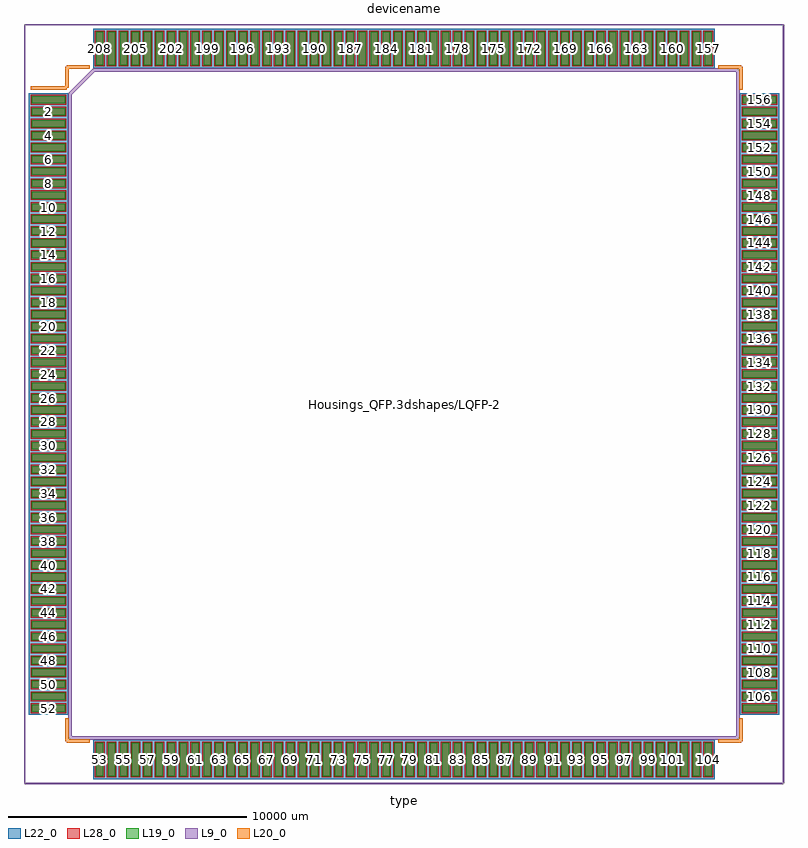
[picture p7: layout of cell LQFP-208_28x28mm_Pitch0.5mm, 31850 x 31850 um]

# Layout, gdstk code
import gdstk
lib = gdstk.Library(unit=1e-6, precision=1e-09)
def R(c, l, rs):  # rectangles x0, y0, x1, y1
    for r in rs: c.add(gdstk.rectangle(r[:2], r[2:], *l))
def A(c, l, x, y, w, h, nx, ny, dx, dy):  # array of equal rectangles
    R(c, l, [(x+i*dx, y+j*dy, x+i*dx+w, y+j*dy+h) for i in range(nx) for j in range(ny)])
L9_0 = (9, 0)
L19_0 = (19, 0)
L20_0 = (20, 0)
L22_0 = (22, 0)
L28_0 = (28, 0)

lqfp_208_28x28mm_pitch0_ = lib.new_cell('LQFP-208_28x28mm_Pitch0.5mm')
A(lqfp_208_28x28mm_pitch0_, L19_0, -12900, -15600, 300, 1400, 52, 2, 500, 29800)
A(lqfp_208_28x28mm_pitch0_, L19_0, -15600, -12900, 1400, 300, 1, 52, 0, 500)
A(lqfp_208_28x28mm_pitch0_, L19_0, 14200, -12900, 1400, 300, 1, 52, 0, 500)
A(lqfp_208_28x28mm_pitch0_, L22_0, -13025, -15725, 550, 1650, 52, 2, 500, 29800)
A(lqfp_208_28x28mm_pitch0_, L22_0, -15725, -13025, 1650, 550, 1, 52, 0, 500)
A(lqfp_208_28x28mm_pitch0_, L22_0, 14075, -13025, 1650, 550, 1, 52, 0, 500)
A(lqfp_208_28x28mm_pitch0_, L28_0, -12950, -15650, 400, 1500, 52, 2, 500, 29800)
A(lqfp_208_28x28mm_pitch0_, L28_0, -15650, -12950, 1500, 400, 1, 52, 0, 500)
A(lqfp_208_28x28mm_pitch0_, L28_0, 14150, -12950, 1500, 400, 1, 52, 0, 500)
lqfp_208_28x28mm_pitch0_.add(gdstk.FlexPath([(-14125,13250),(-15650,13250)], 149.998, ends="flush", simple_path=True, layer=20, datatype=0))  # L20_0
lqfp_208_28x28mm_pitch0_.add(gdstk.FlexPath([(14125,14125),(13175,14125)], 149.998, ends="flush", simple_path=True, layer=20, datatype=0))  # L20_0
lqfp_208_28x28mm_pitch0_.add(gdstk.FlexPath([(14125,-14125),(13175,-14125)], 149.998, ends="flush", simple_path=True, layer=20, datatype=0))  # L20_0
lqfp_208_28x28mm_pitch0_.add(gdstk.FlexPath([(-14125,-14125),(-13175,-14125)], 149.998, ends="flush", simple_path=True, layer=20, datatype=0))  # L20_0
lqfp_208_28x28mm_pitch0_.add(gdstk.FlexPath([(-14125,14125),(-13175,14125)], 149.998, ends="flush", simple_path=True, layer=20, datatype=0))  # L20_0
lqfp_208_28x28mm_pitch0_.add(gdstk.FlexPath([(-14125,-14125),(-14125,-13175)], 149.998, ends="flush", simple_path=True, layer=20, datatype=0))  # L20_0
lqfp_208_28x28mm_pitch0_.add(gdstk.FlexPath([(14125,-14125),(14125,-13175)], 149.998, ends="flush", simple_path=True, layer=20, datatype=0))  # L20_0
lqfp_208_28x28mm_pitch0_.add(gdstk.FlexPath([(14125,14125),(14125,13175)], 149.998, ends="flush", simple_path=True, layer=20, datatype=0))  # L20_0
lqfp_208_28x28mm_pitch0_.add(gdstk.FlexPath([(-14125,14125),(-14125,13250)], 149.998, ends="flush", simple_path=True, layer=20, datatype=0))  # L20_0
lqfp_208_28x28mm_pitch0_.add(gdstk.FlexPath([(-15900,-15900),(15900,-15900)], 50, ends="flush", simple_path=True, layer=9, datatype=0))  # L9_0
lqfp_208_28x28mm_pitch0_.add(gdstk.FlexPath([(-15900,15900),(15900,15900)], 50, ends="flush", simple_path=True, layer=9, datatype=0))  # L9_0
lqfp_208_28x28mm_pitch0_.add(gdstk.FlexPath([(15900,15900),(15900,-15900)], 50, ends="flush", simple_path=True, layer=9, datatype=0))  # L9_0
lqfp_208_28x28mm_pitch0_.add(gdstk.FlexPath([(-15900,15900),(-15900,-15900)], 50, ends="flush", simple_path=True, layer=9, datatype=0))  # L9_0
lqfp_208_28x28mm_pitch0_.add(gdstk.FlexPath([(-14000,13000),(-13000,14000)], 149.998, ends="flush", simple_path=True, layer=9, datatype=0))  # L9_0
lqfp_208_28x28mm_pitch0_.add(gdstk.FlexPath([(-14000,-14000),(-14000,13000)], 149.998, ends="flush", simple_path=True, layer=9, datatype=0))  # L9_0
lqfp_208_28x28mm_pitch0_.add(gdstk.FlexPath([(14000,-14000),(-14000,-14000)], 149.998, ends="flush", simple_path=True, layer=9, datatype=0))  # L9_0
lqfp_208_28x28mm_pitch0_.add(gdstk.FlexPath([(14000,14000),(14000,-14000)], 149.998, ends="flush", simple_path=True, layer=9, datatype=0))  # L9_0
lqfp_208_28x28mm_pitch0_.add(gdstk.FlexPath([(-13000,14000),(14000,14000)], 149.998, ends="flush", simple_path=True, layer=9, datatype=0))  # L9_0
lqfp_208_28x28mm_pitch0_.add(gdstk.Label('Housings_QFP.3dshapes/LQFP-208_28x28mm_Pitch0.5mm.wrl', (0,0), layer=12, texttype=0))
lqfp_208_28x28mm_pitch0_.add(gdstk.Label('208', (-12750,14900), layer=28, texttype=0))
lqfp_208_28x28mm_pitch0_.add(gdstk.Label('207', (-12250,14900), layer=28, texttype=0))
lqfp_208_28x28mm_pitch0_.add(gdstk.Label('206', (-11750,14900), layer=28, texttype=0))
lqfp_208_28x28mm_pitch0_.add(gdstk.Label('205', (-11250,14900), layer=28, texttype=0))
lqfp_208_28x28mm_pitch0_.add(gdstk.Label('204', (-10750,14900), layer=28, texttype=0))
lqfp_208_28x28mm_pitch0_.add(gdstk.Label('203', (-10250,14900), layer=28, texttype=0))
lqfp_208_28x28mm_pitch0_.add(gdstk.Label('202', (-9750,14900), layer=28, texttype=0))
lqfp_208_28x28mm_pitch0_.add(gdstk.Label('201', (-9250,14900), layer=28, texttype=0))
lqfp_208_28x28mm_pitch0_.add(gdstk.Label('200', (-8750,14900), layer=28, texttype=0))
lqfp_208_28x28mm_pitch0_.add(gdstk.Label('199', (-8250,14900), layer=28, texttype=0))
lqfp_208_28x28mm_pitch0_.add(gdstk.Label('198', (-7750,14900), layer=28, texttype=0))
lqfp_208_28x28mm_pitch0_.add(gdstk.Label('197', (-7250,14900), layer=28, texttype=0))
lqfp_208_28x28mm_pitch0_.add(gdstk.Label('196', (-6750,14900), layer=28, texttype=0))
lqfp_208_28x28mm_pitch0_.add(gdstk.Label('195', (-6250,14900), layer=28, texttype=0))
lqfp_208_28x28mm_pitch0_.add(gdstk.Label('194', (-5750,14900), layer=28, texttype=0))
lqfp_208_28x28mm_pitch0_.add(gdstk.Label('193', (-5250,14900), layer=28, texttype=0))
lqfp_208_28x28mm_pitch0_.add(gdstk.Label('192', (-4750,14900), layer=28, texttype=0))
lqfp_208_28x28mm_pitch0_.add(gdstk.Label('191', (-4250,14900), layer=28, texttype=0))
lqfp_208_28x28mm_pitch0_.add(gdstk.Label('190', (-3750,14900), layer=28, texttype=0))
lqfp_208_28x28mm_pitch0_.add(gdstk.Label('189', (-3250,14900), layer=28, texttype=0))
lqfp_208_28x28mm_pitch0_.add(gdstk.Label('188', (-2750,14900), layer=28, texttype=0))
lqfp_208_28x28mm_pitch0_.add(gdstk.Label('187', (-2250,14900), layer=28, texttype=0))
lqfp_208_28x28mm_pitch0_.add(gdstk.Label('186', (-1750,14900), layer=28, texttype=0))
lqfp_208_28x28mm_pitch0_.add(gdstk.Label('185', (-1250,14900), layer=28, texttype=0))
lqfp_208_28x28mm_pitch0_.add(gdstk.Label('184', (-750,14900), layer=28, texttype=0))
lqfp_208_28x28mm_pitch0_.add(gdstk.Label('183', (-250,14900), layer=28, texttype=0))
lqfp_208_28x28mm_pitch0_.add(gdstk.Label('182', (250,14900), layer=28, texttype=0))
lqfp_208_28x28mm_pitch0_.add(gdstk.Label('181', (750,14900), layer=28, texttype=0))
lqfp_208_28x28mm_pitch0_.add(gdstk.Label('180', (1250,14900), layer=28, texttype=0))
lqfp_208_28x28mm_pitch0_.add(gdstk.Label('179', (1750,14900), layer=28, texttype=0))
lqfp_208_28x28mm_pitch0_.add(gdstk.Label('178', (2250,14900), layer=28, texttype=0))
lqfp_208_28x28mm_pitch0_.add(gdstk.Label('177', (2750,14900), layer=28, texttype=0))
lqfp_208_28x28mm_pitch0_.add(gdstk.Label('176', (3250,14900), layer=28, texttype=0))
lqfp_208_28x28mm_pitch0_.add(gdstk.Label('175', (3750,14900), layer=28, texttype=0))
lqfp_208_28x28mm_pitch0_.add(gdstk.Label('174', (4250,14900), layer=28, texttype=0))
lqfp_208_28x28mm_pitch0_.add(gdstk.Label('173', (4750,14900), layer=28, texttype=0))
lqfp_208_28x28mm_pitch0_.add(gdstk.Label('172', (5250,14900), layer=28, texttype=0))
lqfp_208_28x28mm_pitch0_.add(gdstk.Label('171', (5750,14900), layer=28, texttype=0))
lqfp_208_28x28mm_pitch0_.add(gdstk.Label('170', (6250,14900), layer=28, texttype=0))
lqfp_208_28x28mm_pitch0_.add(gdstk.Label('169', (6750,14900), layer=28, texttype=0))
lqfp_208_28x28mm_pitch0_.add(gdstk.Label('168', (7250,14900), layer=28, texttype=0))
lqfp_208_28x28mm_pitch0_.add(gdstk.Label('167', (7750,14900), layer=28, texttype=0))
lqfp_208_28x28mm_pitch0_.add(gdstk.Label('166', (8250,14900), layer=28, texttype=0))
lqfp_208_28x28mm_pitch0_.add(gdstk.Label('165', (8750,14900), layer=28, texttype=0))
lqfp_208_28x28mm_pitch0_.add(gdstk.Label('164', (9250,14900), layer=28, texttype=0))
lqfp_208_28x28mm_pitch0_.add(gdstk.Label('163', (9750,14900), layer=28, texttype=0))
lqfp_208_28x28mm_pitch0_.add(gdstk.Label('162', (10250,14900), layer=28, texttype=0))
lqfp_208_28x28mm_pitch0_.add(gdstk.Label('161', (10750,14900), layer=28, texttype=0))
lqfp_208_28x28mm_pitch0_.add(gdstk.Label('160', (11250,14900), layer=28, texttype=0))
lqfp_208_28x28mm_pitch0_.add(gdstk.Label('159', (11750,14900), layer=28, texttype=0))
lqfp_208_28x28mm_pitch0_.add(gdstk.Label('158', (12250,14900), layer=28, texttype=0))
lqfp_208_28x28mm_pitch0_.add(gdstk.Label('157', (12750,14900), layer=28, texttype=0))
lqfp_208_28x28mm_pitch0_.add(gdstk.Label('156', (14900,12750), layer=28, texttype=0))
lqfp_208_28x28mm_pitch0_.add(gdstk.Label('155', (14900,12250), layer=28, texttype=0))
lqfp_208_28x28mm_pitch0_.add(gdstk.Label('154', (14900,11750), layer=28, texttype=0))
lqfp_208_28x28mm_pitch0_.add(gdstk.Label('153', (14900,11250), layer=28, texttype=0))
lqfp_208_28x28mm_pitch0_.add(gdstk.Label('152', (14900,10750), layer=28, texttype=0))
lqfp_208_28x28mm_pitch0_.add(gdstk.Label('151', (14900,10250), layer=28, texttype=0))
lqfp_208_28x28mm_pitch0_.add(gdstk.Label('150', (14900,9750), layer=28, texttype=0))
lqfp_208_28x28mm_pitch0_.add(gdstk.Label('149', (14900,9250), layer=28, texttype=0))
lqfp_208_28x28mm_pitch0_.add(gdstk.Label('148', (14900,8750), layer=28, texttype=0))
lqfp_208_28x28mm_pitch0_.add(gdstk.Label('147', (14900,8250), layer=28, texttype=0))
lqfp_208_28x28mm_pitch0_.add(gdstk.Label('146', (14900,7750), layer=28, texttype=0))
lqfp_208_28x28mm_pitch0_.add(gdstk.Label('145', (14900,7250), layer=28, texttype=0))
lqfp_208_28x28mm_pitch0_.add(gdstk.Label('144', (14900,6750), layer=28, texttype=0))
lqfp_208_28x28mm_pitch0_.add(gdstk.Label('143', (14900,6250), layer=28, texttype=0))
lqfp_208_28x28mm_pitch0_.add(gdstk.Label('142', (14900,5750), layer=28, texttype=0))
lqfp_208_28x28mm_pitch0_.add(gdstk.Label('141', (14900,5250), layer=28, texttype=0))
lqfp_208_28x28mm_pitch0_.add(gdstk.Label('140', (14900,4750), layer=28, texttype=0))
lqfp_208_28x28mm_pitch0_.add(gdstk.Label('139', (14900,4250), layer=28, texttype=0))
lqfp_208_28x28mm_pitch0_.add(gdstk.Label('138', (14900,3750), layer=28, texttype=0))
lqfp_208_28x28mm_pitch0_.add(gdstk.Label('137', (14900,3250), layer=28, texttype=0))
lqfp_208_28x28mm_pitch0_.add(gdstk.Label('136', (14900,2750), layer=28, texttype=0))
lqfp_208_28x28mm_pitch0_.add(gdstk.Label('135', (14900,2250), layer=28, texttype=0))
lqfp_208_28x28mm_pitch0_.add(gdstk.Label('134', (14900,1750), layer=28, texttype=0))
lqfp_208_28x28mm_pitch0_.add(gdstk.Label('133', (14900,1250), layer=28, texttype=0))
lqfp_208_28x28mm_pitch0_.add(gdstk.Label('132', (14900,750), layer=28, texttype=0))
lqfp_208_28x28mm_pitch0_.add(gdstk.Label('131', (14900,250), layer=28, texttype=0))
lqfp_208_28x28mm_pitch0_.add(gdstk.Label('130', (14900,-250), layer=28, texttype=0))
lqfp_208_28x28mm_pitch0_.add(gdstk.Label('129', (14900,-750), layer=28, texttype=0))
lqfp_208_28x28mm_pitch0_.add(gdstk.Label('128', (14900,-1250), layer=28, texttype=0))
lqfp_208_28x28mm_pitch0_.add(gdstk.Label('127', (14900,-1750), layer=28, texttype=0))
lqfp_208_28x28mm_pitch0_.add(gdstk.Label('126', (14900,-2250), layer=28, texttype=0))
lqfp_208_28x28mm_pitch0_.add(gdstk.Label('125', (14900,-2750), layer=28, texttype=0))
lqfp_208_28x28mm_pitch0_.add(gdstk.Label('124', (14900,-3250), layer=28, texttype=0))
lqfp_208_28x28mm_pitch0_.add(gdstk.Label('123', (14900,-3750), layer=28, texttype=0))
lqfp_208_28x28mm_pitch0_.add(gdstk.Label('122', (14900,-4250), layer=28, texttype=0))
lqfp_208_28x28mm_pitch0_.add(gdstk.Label('121', (14900,-4750), layer=28, texttype=0))
lqfp_208_28x28mm_pitch0_.add(gdstk.Label('120', (14900,-5250), layer=28, texttype=0))
lqfp_208_28x28mm_pitch0_.add(gdstk.Label('119', (14900,-5750), layer=28, texttype=0))
lqfp_208_28x28mm_pitch0_.add(gdstk.Label('118', (14900,-6250), layer=28, texttype=0))
lqfp_208_28x28mm_pitch0_.add(gdstk.Label('117', (14900,-6750), layer=28, texttype=0))
lqfp_208_28x28mm_pitch0_.add(gdstk.Label('116', (14900,-7250), layer=28, texttype=0))
lqfp_208_28x28mm_pitch0_.add(gdstk.Label('115', (14900,-7750), layer=28, texttype=0))
lqfp_208_28x28mm_pitch0_.add(gdstk.Label('114', (14900,-8250), layer=28, texttype=0))
lqfp_208_28x28mm_pitch0_.add(gdstk.Label('113', (14900,-8750), layer=28, texttype=0))
lqfp_208_28x28mm_pitch0_.add(gdstk.Label('112', (14900,-9250), layer=28, texttype=0))
lqfp_208_28x28mm_pitch0_.add(gdstk.Label('111', (14900,-9750), layer=28, texttype=0))
lqfp_208_28x28mm_pitch0_.add(gdstk.Label('110', (14900,-10250), layer=28, texttype=0))
lqfp_208_28x28mm_pitch0_.add(gdstk.Label('109', (14900,-10750), layer=28, texttype=0))
lqfp_208_28x28mm_pitch0_.add(gdstk.Label('108', (14900,-11250), layer=28, texttype=0))
lqfp_208_28x28mm_pitch0_.add(gdstk.Label('107', (14900,-11750), layer=28, texttype=0))
lqfp_208_28x28mm_pitch0_.add(gdstk.Label('106', (14900,-12250), layer=28, texttype=0))
lqfp_208_28x28mm_pitch0_.add(gdstk.Label('105', (14900,-12750), layer=28, texttype=0))
lqfp_208_28x28mm_pitch0_.add(gdstk.Label('104', (12750,-14900), layer=28, texttype=0))
lqfp_208_28x28mm_pitch0_.add(gdstk.Label('103', (12250,-14900), layer=28, texttype=0))
lqfp_208_28x28mm_pitch0_.add(gdstk.Label('102', (11750,-14900), layer=28, texttype=0))
lqfp_208_28x28mm_pitch0_.add(gdstk.Label('101', (11250,-14900), layer=28, texttype=0))
lqfp_208_28x28mm_pitch0_.add(gdstk.Label('100', (10750,-14900), layer=28, texttype=0))
lqfp_208_28x28mm_pitch0_.add(gdstk.Label('99', (10250,-14900), layer=28, texttype=0))
lqfp_208_28x28mm_pitch0_.add(gdstk.Label('98', (9750,-14900), layer=28, texttype=0))
lqfp_208_28x28mm_pitch0_.add(gdstk.Label('97', (9250,-14900), layer=28, texttype=0))
lqfp_208_28x28mm_pitch0_.add(gdstk.Label('96', (8750,-14900), layer=28, texttype=0))
lqfp_208_28x28mm_pitch0_.add(gdstk.Label('95', (8250,-14900), layer=28, texttype=0))
lqfp_208_28x28mm_pitch0_.add(gdstk.Label('94', (7750,-14900), layer=28, texttype=0))
lqfp_208_28x28mm_pitch0_.add(gdstk.Label('93', (7250,-14900), layer=28, texttype=0))
lqfp_208_28x28mm_pitch0_.add(gdstk.Label('92', (6750,-14900), layer=28, texttype=0))
lqfp_208_28x28mm_pitch0_.add(gdstk.Label('91', (6250,-14900), layer=28, texttype=0))
lqfp_208_28x28mm_pitch0_.add(gdstk.Label('90', (5750,-14900), layer=28, texttype=0))
lqfp_208_28x28mm_pitch0_.add(gdstk.Label('89', (5250,-14900), layer=28, texttype=0))
lqfp_208_28x28mm_pitch0_.add(gdstk.Label('88', (4750,-14900), layer=28, texttype=0))
lqfp_208_28x28mm_pitch0_.add(gdstk.Label('87', (4250,-14900), layer=28, texttype=0))
lqfp_208_28x28mm_pitch0_.add(gdstk.Label('86', (3750,-14900), layer=28, texttype=0))
lqfp_208_28x28mm_pitch0_.add(gdstk.Label('85', (3250,-14900), layer=28, texttype=0))
lqfp_208_28x28mm_pitch0_.add(gdstk.Label('84', (2750,-14900), layer=28, texttype=0))
lqfp_208_28x28mm_pitch0_.add(gdstk.Label('83', (2250,-14900), layer=28, texttype=0))
lqfp_208_28x28mm_pitch0_.add(gdstk.Label('82', (1750,-14900), layer=28, texttype=0))
lqfp_208_28x28mm_pitch0_.add(gdstk.Label('81', (1250,-14900), layer=28, texttype=0))
lqfp_208_28x28mm_pitch0_.add(gdstk.Label('80', (750,-14900), layer=28, texttype=0))
lqfp_208_28x28mm_pitch0_.add(gdstk.Label('79', (250,-14900), layer=28, texttype=0))
lqfp_208_28x28mm_pitch0_.add(gdstk.Label('78', (-250,-14900), layer=28, texttype=0))
lqfp_208_28x28mm_pitch0_.add(gdstk.Label('77', (-750,-14900), layer=28, texttype=0))
lqfp_208_28x28mm_pitch0_.add(gdstk.Label('76', (-1250,-14900), layer=28, texttype=0))
lqfp_208_28x28mm_pitch0_.add(gdstk.Label('75', (-1750,-14900), layer=28, texttype=0))
lqfp_208_28x28mm_pitch0_.add(gdstk.Label('74', (-2250,-14900), layer=28, texttype=0))
lqfp_208_28x28mm_pitch0_.add(gdstk.Label('73', (-2750,-14900), layer=28, texttype=0))
lqfp_208_28x28mm_pitch0_.add(gdstk.Label('72', (-3250,-14900), layer=28, texttype=0))
lqfp_208_28x28mm_pitch0_.add(gdstk.Label('71', (-3750,-14900), layer=28, texttype=0))
lqfp_208_28x28mm_pitch0_.add(gdstk.Label('70', (-4250,-14900), layer=28, texttype=0))
lqfp_208_28x28mm_pitch0_.add(gdstk.Label('69', (-4750,-14900), layer=28, texttype=0))
lqfp_208_28x28mm_pitch0_.add(gdstk.Label('68', (-5250,-14900), layer=28, texttype=0))
lqfp_208_28x28mm_pitch0_.add(gdstk.Label('67', (-5750,-14900), layer=28, texttype=0))
lqfp_208_28x28mm_pitch0_.add(gdstk.Label('66', (-6250,-14900), layer=28, texttype=0))
lqfp_208_28x28mm_pitch0_.add(gdstk.Label('65', (-6750,-14900), layer=28, texttype=0))
lqfp_208_28x28mm_pitch0_.add(gdstk.Label('64', (-7250,-14900), layer=28, texttype=0))
lqfp_208_28x28mm_pitch0_.add(gdstk.Label('63', (-7750,-14900), layer=28, texttype=0))
lqfp_208_28x28mm_pitch0_.add(gdstk.Label('62', (-8250,-14900), layer=28, texttype=0))
lqfp_208_28x28mm_pitch0_.add(gdstk.Label('61', (-8750,-14900), layer=28, texttype=0))
lqfp_208_28x28mm_pitch0_.add(gdstk.Label('60', (-9250,-14900), layer=28, texttype=0))
lqfp_208_28x28mm_pitch0_.add(gdstk.Label('59', (-9750,-14900), layer=28, texttype=0))
lqfp_208_28x28mm_pitch0_.add(gdstk.Label('58', (-10250,-14900), layer=28, texttype=0))
lqfp_208_28x28mm_pitch0_.add(gdstk.Label('57', (-10750,-14900), layer=28, texttype=0))
lqfp_208_28x28mm_pitch0_.add(gdstk.Label('56', (-11250,-14900), layer=28, texttype=0))
lqfp_208_28x28mm_pitch0_.add(gdstk.Label('55', (-11750,-14900), layer=28, texttype=0))
lqfp_208_28x28mm_pitch0_.add(gdstk.Label('54', (-12250,-14900), layer=28, texttype=0))
lqfp_208_28x28mm_pitch0_.add(gdstk.Label('53', (-12750,-14900), layer=28, texttype=0))
lqfp_208_28x28mm_pitch0_.add(gdstk.Label('52', (-14900,-12750), layer=28, texttype=0))
lqfp_208_28x28mm_pitch0_.add(gdstk.Label('51', (-14900,-12250), layer=28, texttype=0))
lqfp_208_28x28mm_pitch0_.add(gdstk.Label('50', (-14900,-11750), layer=28, texttype=0))
lqfp_208_28x28mm_pitch0_.add(gdstk.Label('49', (-14900,-11250), layer=28, texttype=0))
lqfp_208_28x28mm_pitch0_.add(gdstk.Label('48', (-14900,-10750), layer=28, texttype=0))
lqfp_208_28x28mm_pitch0_.add(gdstk.Label('47', (-14900,-10250), layer=28, texttype=0))
lqfp_208_28x28mm_pitch0_.add(gdstk.Label('46', (-14900,-9750), layer=28, texttype=0))
lqfp_208_28x28mm_pitch0_.add(gdstk.Label('45', (-14900,-9250), layer=28, texttype=0))
lqfp_208_28x28mm_pitch0_.add(gdstk.Label('44', (-14900,-8750), layer=28, texttype=0))
lqfp_208_28x28mm_pitch0_.add(gdstk.Label('43', (-14900,-8250), layer=28, texttype=0))
lqfp_208_28x28mm_pitch0_.add(gdstk.Label('42', (-14900,-7750), layer=28, texttype=0))
lqfp_208_28x28mm_pitch0_.add(gdstk.Label('41', (-14900,-7250), layer=28, texttype=0))
lqfp_208_28x28mm_pitch0_.add(gdstk.Label('40', (-14900,-6750), layer=28, texttype=0))
lqfp_208_28x28mm_pitch0_.add(gdstk.Label('39', (-14900,-6250), layer=28, texttype=0))
lqfp_208_28x28mm_pitch0_.add(gdstk.Label('38', (-14900,-5750), layer=28, texttype=0))
lqfp_208_28x28mm_pitch0_.add(gdstk.Label('37', (-14900,-5250), layer=28, texttype=0))
lqfp_208_28x28mm_pitch0_.add(gdstk.Label('36', (-14900,-4750), layer=28, texttype=0))
lqfp_208_28x28mm_pitch0_.add(gdstk.Label('35', (-14900,-4250), layer=28, texttype=0))
lqfp_208_28x28mm_pitch0_.add(gdstk.Label('34', (-14900,-3750), layer=28, texttype=0))
lqfp_208_28x28mm_pitch0_.add(gdstk.Label('33', (-14900,-3250), layer=28, texttype=0))
lqfp_208_28x28mm_pitch0_.add(gdstk.Label('32', (-14900,-2750), layer=28, texttype=0))
lqfp_208_28x28mm_pitch0_.add(gdstk.Label('31', (-14900,-2250), layer=28, texttype=0))
lqfp_208_28x28mm_pitch0_.add(gdstk.Label('30', (-14900,-1750), layer=28, texttype=0))
lqfp_208_28x28mm_pitch0_.add(gdstk.Label('29', (-14900,-1250), layer=28, texttype=0))
lqfp_208_28x28mm_pitch0_.add(gdstk.Label('28', (-14900,-750), layer=28, texttype=0))
lqfp_208_28x28mm_pitch0_.add(gdstk.Label('27', (-14900,-250), layer=28, texttype=0))
lqfp_208_28x28mm_pitch0_.add(gdstk.Label('26', (-14900,250), layer=28, texttype=0))
lqfp_208_28x28mm_pitch0_.add(gdstk.Label('25', (-14900,750), layer=28, texttype=0))
lqfp_208_28x28mm_pitch0_.add(gdstk.Label('24', (-14900,1250), layer=28, texttype=0))
lqfp_208_28x28mm_pitch0_.add(gdstk.Label('23', (-14900,1750), layer=28, texttype=0))
lqfp_208_28x28mm_pitch0_.add(gdstk.Label('22', (-14900,2250), layer=28, texttype=0))
lqfp_208_28x28mm_pitch0_.add(gdstk.Label('21', (-14900,2750), layer=28, texttype=0))
lqfp_208_28x28mm_pitch0_.add(gdstk.Label('20', (-14900,3250), layer=28, texttype=0))
lqfp_208_28x28mm_pitch0_.add(gdstk.Label('19', (-14900,3750), layer=28, texttype=0))
lqfp_208_28x28mm_pitch0_.add(gdstk.Label('18', (-14900,4250), layer=28, texttype=0))
lqfp_208_28x28mm_pitch0_.add(gdstk.Label('17', (-14900,4750), layer=28, texttype=0))
lqfp_208_28x28mm_pitch0_.add(gdstk.Label('16', (-14900,5250), layer=28, texttype=0))
lqfp_208_28x28mm_pitch0_.add(gdstk.Label('15', (-14900,5750), layer=28, texttype=0))
lqfp_208_28x28mm_pitch0_.add(gdstk.Label('14', (-14900,6250), layer=28, texttype=0))
lqfp_208_28x28mm_pitch0_.add(gdstk.Label('13', (-14900,6750), layer=28, texttype=0))
lqfp_208_28x28mm_pitch0_.add(gdstk.Label('12', (-14900,7250), layer=28, texttype=0))
lqfp_208_28x28mm_pitch0_.add(gdstk.Label('11', (-14900,7750), layer=28, texttype=0))
lqfp_208_28x28mm_pitch0_.add(gdstk.Label('10', (-14900,8250), layer=28, texttype=0))
lqfp_208_28x28mm_pitch0_.add(gdstk.Label('9', (-14900,8750), layer=28, texttype=0))
lqfp_208_28x28mm_pitch0_.add(gdstk.Label('8', (-14900,9250), layer=28, texttype=0))
lqfp_208_28x28mm_pitch0_.add(gdstk.Label('7', (-14900,9750), layer=28, texttype=0))
lqfp_208_28x28mm_pitch0_.add(gdstk.Label('6', (-14900,10250), layer=28, texttype=0))
lqfp_208_28x28mm_pitch0_.add(gdstk.Label('5', (-14900,10750), layer=28, texttype=0))
lqfp_208_28x28mm_pitch0_.add(gdstk.Label('4', (-14900,11250), layer=28, texttype=0))
lqfp_208_28x28mm_pitch0_.add(gdstk.Label('3', (-14900,11750), layer=28, texttype=0))
lqfp_208_28x28mm_pitch0_.add(gdstk.Label('2', (-14900,12250), layer=28, texttype=0))
lqfp_208_28x28mm_pitch0_.add(gdstk.Label('1', (-14900,12750), layer=28, texttype=0))
lqfp_208_28x28mm_pitch0_.add(gdstk.Label('%R', (0,0), layer=9, texttype=0))
lqfp_208_28x28mm_pitch0_.add(gdstk.Label('type', (0,-16650), layer=9, texttype=0))
lqfp_208_28x28mm_pitch0_.add(gdstk.Label('devicename', (0,16650), layer=9, texttype=0))

lib.write_gds('LQFP-208_28x28mm_Pitch0.5mm.gds')
